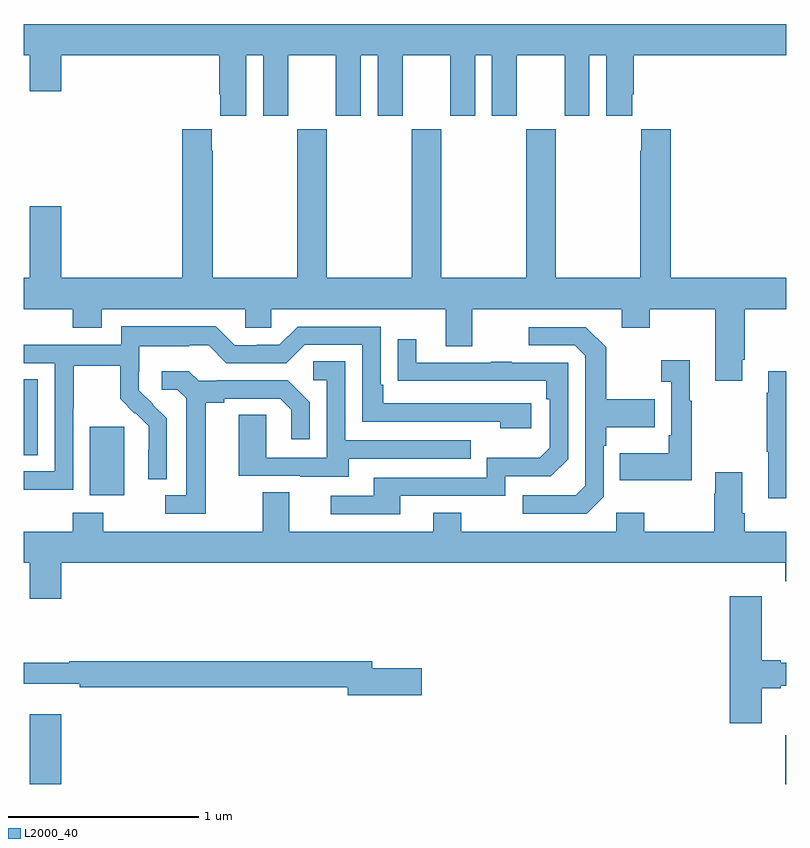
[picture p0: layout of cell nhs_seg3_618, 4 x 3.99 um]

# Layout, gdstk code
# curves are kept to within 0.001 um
import gdstk
lib = gdstk.Library(unit=1e-6, precision=1e-09)
def R(c, l, rs):  # rectangles x0, y0, x1, y1
    for r in rs: c.add(gdstk.rectangle(r[:2], r[2:], *l))
def P(c, l, *ps):  # polygons
    for p in ps: c.add(gdstk.Polygon(p, *l))
L2000_40 = (2000, 40)

nhs_seg3_618 = lib.new_cell('nhs_seg3_618')
R(nhs_seg3_618, L2000_40, [(141.032,722.4,141.196,722.767), (144.995,722.4,145,722.657), (141.347,723.914,141.526,724.275), (141,724.126,141.073,724.523)])
P(nhs_seg3_618, L2000_40, [(142.168,726.224),(142.256,726.224),(142.256,725.907),(142.387,725.907),(142.387,726.224),(142.637,726.224),(142.637,725.907),(142.768,725.907),(142.768,726.224),(142.856,726.224),(142.856,725.907),(142.987,725.907),(142.987,726.224),(143.237,726.224),(143.237,725.907),(143.368,725.907),(143.368,726.224),(143.456,726.224),(143.456,725.907),(143.587,725.907),(143.587,726.224),(143.837,726.224),(143.837,725.907),(143.968,725.907),(143.968,726.224),(144.056,726.224),(144.056,725.907),(144.193,725.907),(144.193,726.019),(144.2,726.019),(144.2,726.224),(145,726.224),(145,726.388),(141,726.388),(141,726.224),(141.032,726.224),(141.032,726.036),(141.196,726.036),(141.196,726.224),(142.025,726.224),(142.025,726.019),(142.031,726.019),(142.031,725.907),(142.168,725.907)],
  [(144.769,724.627),(144.782,724.627),(144.782,724.892),(145,724.892),(145,725.056),(144.395,725.056),(144.395,725.836),(144.239,725.836),(144.239,725.723),(144.235,725.723),(144.235,725.056),(143.79,725.056),(143.79,725.836),(143.635,725.836),(143.635,725.056),(143.19,725.056),(143.19,725.836),(143.035,725.836),(143.035,725.056),(142.59,725.056),(142.59,725.836),(142.435,725.836),(142.435,725.056),(141.99,725.056),(141.99,725.723),(141.985,725.723),(141.985,725.836),(141.83,725.836),(141.83,725.056),(141.196,725.056),(141.196,725.431),(141.032,725.431),(141.032,725.056),(141,725.056),(141,724.892),(141.257,724.892),(141.257,724.793),(141.409,724.793),(141.409,724.892),(142.161,724.892),(142.161,724.794),(142.299,724.794),(142.299,724.892),(143.213,724.892),(143.213,724.698),(143.353,724.698),(143.353,724.892),(144.137,724.892),(144.137,724.793),(144.285,724.793),(144.285,724.892),(144.629,724.892),(144.629,724.515),(144.769,724.515)],
  [(141.258,724.372),(141.261,724.372),(141.261,724.596),(141.505,724.596),(141.505,724.421),(141.582,724.344),(141.585,724.347),(141.656,724.277),(141.656,724.154),(141.654,724.154),(141.654,724),(141.75,724),(141.75,724.318),(141.604,724.466),(141.604,724.563),(141.606,724.563),(141.606,724.697),(141.869,724.697),(141.869,724.701),(141.969,724.701),(142.062,724.608),(142.377,724.608),(142.473,724.704),(142.776,724.704),(142.776,724.302),(143.501,724.302),(143.501,724.268),(143.662,724.268),(143.662,724.398),(142.885,724.398),(142.885,724.495),(142.872,724.495),(142.872,724.8),(142.437,724.8),(142.341,724.704),(142.223,724.704),(142.223,724.701),(142.107,724.701),(142.007,724.801),(141.51,724.801),(141.51,724.704),(141,724.704),(141,724.608),(141.162,724.608),(141.162,724.041),(141,724.041),(141,723.943),(141.258,723.943)],
  [(144.042,723.906),(144.042,724.175),(144.055,724.175),(144.055,724.271),(144.311,724.271),(144.311,724.419),(144.055,724.419),(144.055,724.691),(143.949,724.797),(143.649,724.797),(143.649,724.701),(143.892,724.701),(143.946,724.647),(143.946,723.966),(143.895,723.915),(143.619,723.915),(143.619,723.819),(143.955,723.819)],
  [(142.975,723.912),(143.526,723.912),(143.526,724.014),(143.766,724.014),(143.856,724.104),(143.856,724.611),(143.561,724.611),(143.561,724.616),(143.449,724.616),(143.449,724.611),(143.059,724.611),(143.059,724.735),(142.963,724.735),(142.963,724.516),(143.74,724.515),(143.74,724.418),(143.76,724.418),(143.76,724.164),(143.707,724.111),(143.43,724.111),(143.43,724.008),(142.835,724.008),(142.835,723.912),(142.611,723.912),(142.611,723.816),(142.975,723.816)],
  [(144.505,724.411),(144.493,724.411),(144.493,724.624),(144.345,724.624),(144.345,724.511),(144.396,724.511),(144.396,724.231),(144.384,724.231),(144.384,724.135),(144.127,724.135),(144.127,723.995),(144.505,723.995)],
  [(142.705,724.107),(143.345,724.107),(143.345,724.203),(142.686,724.203),(142.686,724.619),(142.518,724.619),(142.518,724.518),(142.59,724.518),(142.59,724.113),(142.272,724.113),(142.272,724.337),(142.127,724.337),(142.127,724.017),(142.451,724.017),(142.451,724.013),(142.705,724.013)],
  [(145,724.567),(144.905,724.567),(144.905,724.454),(144.898,724.454),(144.898,724.143),(144.905,724.143),(144.905,723.9),(145,723.9)],
  [(141.955,724.4),(142.051,724.4),(142.051,724.422),(142.346,724.422),(142.403,724.365),(142.403,724.209),(142.5,724.209),(142.5,724.402),(142.384,724.518),(142.012,724.518),(142.012,724.515),(141.918,724.515),(141.866,724.567),(141.723,724.567),(141.723,724.47),(141.804,724.47),(141.851,724.423),(141.851,723.915),(141.741,723.915),(141.741,723.819),(141.955,723.819)],
  [(141.196,723.56),(144.995,723.56),(144.995,723.464),(145,723.464),(145,723.724),(144.782,723.724),(144.782,723.82),(144.769,723.82),(144.769,724.036),(144.629,724.036),(144.629,723.923),(144.622,723.923),(144.622,723.724),(144.255,723.724),(144.255,723.823),(144.108,723.823),(144.108,723.724),(143.295,723.724),(143.295,723.823),(143.147,723.823),(143.147,723.724),(142.393,723.724),(142.393,723.932),(142.253,723.932),(142.253,723.724),(141.417,723.724),(141.417,723.823),(141.257,723.823),(141.257,723.724),(141,723.724),(141,723.56),(141.032,723.56),(141.032,723.372),(141.196,723.372)],
  [(144.871,722.903),(144.971,722.903),(144.971,722.915),(145,722.915),(145,723.037),(144.971,723.037),(144.971,723.05),(144.871,723.05),(144.871,723.385),(144.704,723.385),(144.704,722.718),(144.871,722.718)],
  [(143.089,723.008),(142.828,723.008),(142.828,723.044),(141.238,723.044),(141.238,723.037),(141,723.037),(141,722.927),(141.292,722.927),(141.292,722.908),(142.7,722.908),(142.7,722.866),(143.089,722.866)])

lib.write_gds('nhs_seg3_618.gds')
